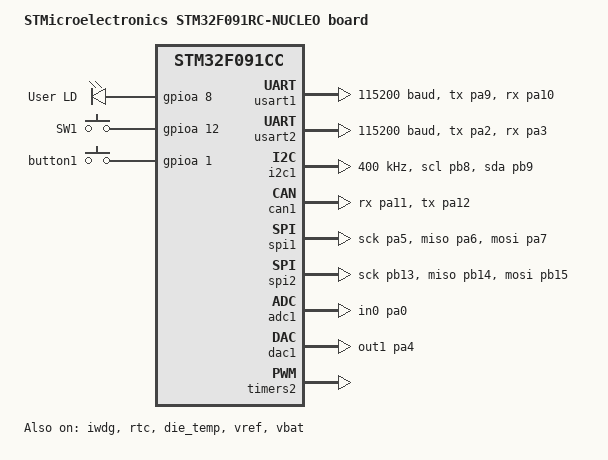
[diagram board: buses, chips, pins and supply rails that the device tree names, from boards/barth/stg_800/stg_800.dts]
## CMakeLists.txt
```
cmake_minimum_required(VERSION 3.22)
set(CMAKE_EXPORT_COMPILE_COMMANDS ON)
set(BOARD stg_800 )

find_package(Zephyr REQUIRED HINTS $ENV{ZEPHYR_BASE})
project(004_create_your_own_board)

target_sources(app PRIVATE src/main.c)
```

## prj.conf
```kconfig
CONFIG_MAIN_THREAD_PRIORITY=0
CONFIG_MAIN_STACK_SIZE=1024
CONFIG_SYSTEM_WORKQUEUE_STACK_SIZE=1024
CONFIG_LOG=y
CONFIG_SERIAL=y
CONFIG_GPIO=y

CONFIG_PRINTK=y
CONFIG_LOG_PRINTK=y

CONFIG_BOOTLOADER_MCUBOOT=y

CONFIG_MCUBOOT_SIGNATURE_KEY_FILE="bootloader/mcuboot/mykey-ecdsa-p256.pem"
CONFIG_MCUBOOT_ENCRYPTION_KEY_FILE="bootloader/mcuboot/mykey-ecdsa-p256.pem"







# Add other necessary configurations
# ...
```

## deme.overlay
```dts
cd
cd zephyrproject 
mkdir zephyr_rtos_tutuorials
cd zephyr_rtos_tutuorials
mkdir 001_led_blink
cd 001_led_blink


west build ~/zephyrproject/zephyr_rtos_tutuorials/001_led_blink  -p  -b stm32f4_disco  -d build

west build -b <board_name> 

west flash

west debug

p counter



# SPDX-License-Identifier: Apache-2.0

# Serial Drivers
CONFIG_SERIAL=y
CONFIG_UART_INTERRUPT_DRIVEN=y
# enable console
CONFIG_CONSOLE=y
CONFIG_UART_CONSOLE=y

# GPIO Controller
CONFIG_GPIO=y

# Enable Clocks
CONFIG_CLOCK_CONTROL=y

# enable pin controller
CONFIG_PINCTRL=y

go install github.com/apache/mynewt-mcumgr-cli/mcumgr@latest

mcumgr conn add acm0 type="serial" connstring="dev=/dev/tty.usbserial-FTCJAQUO,baud=115200,mtu=512"

mcumgr -c acm0 image upload /Users/fuad/zephyrproject/zephyr_rtos_tutuorials/005_bootloader_usage/build/zephyr/zephyr.signed.bin
```

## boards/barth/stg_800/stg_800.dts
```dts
/*
 * Copyright (c) 2017 Bobby Noelte
 *
 * SPDX-License-Identifier: Apache-2.0
 */

 /dts-v1/;
 #include "stm32f091cc.dtsi"
 #include <st/f0/stm32f091c(b-c)tx-pinctrl.dtsi>
 #include "arduino_r3_connector.dtsi"
 #include "st_morpho_connector.dtsi"
 #include <zephyr/dt-bindings/input/input-event-codes.h>
 
 / {
     model = "STMicroelectronics STM32F091RC-NUCLEO board";
     compatible = "barth,stg_800";
 
     chosen {
         zephyr,shell-uart = &usart2;
         zephyr,sram = &sram0;
         zephyr,flash = &flash0;
         zephyr,canbus = &can1;
     };
 
     leds: leds {
         status = "okay";
         compatible = "gpio-leds";
         green_led: green_led {
             status = "okay";
             gpios = <&gpioa 8 GPIO_ACTIVE_HIGH>;
             label = "User LD";
         };
     };
 
     gpio_keys {
        status = "okay";
        compatible = "gpio-keys";
        mcuboot_button0: button_0 {
            status = "okay";
            label = "SW1";
            gpios = <&gpioa 12 (GPIO_ACTIVE_HIGH | GPIO_PULL_DOWN)>; //In 4
            zephyr,code = <INPUT_KEY_0>;
        };
        

    };

    buttons {
        status = "okay";
        compatible = "gpio-keys";
        button1: button_1 {
            status = "okay";
            gpios = <&gpioa 1 GPIO_ACTIVE_HIGH>;
        };
    };
 
     pwmleds: pwmleds {
         compatible = "pwm-leds";
         /* NOTE: disabled by default, PWM2 conflicts with SPI1 */
         status = "disabled";
 
         green_pwm_led: green_pwm_led {
             pwms = <&pwm2 1 PWM_MSEC(20) PWM_POLARITY_NORMAL>;
         };
     };
 
     aliases {
         led0 = &green_led;
         sw0 = &mcuboot_button0;
         pwm-led0 = &green_pwm_led;
         watchdog0 = &iwdg;
         die-temp0 = &die_temp;
         volt-sensor0 = &vref;
         volt-sensor1 = &vbat;
         mcuboot-button0 = &mcuboot_button0;   
     };
 };
 
 
 
 &clk_hsi {
     status = "okay";
     
 };
 &clk_lsi {
     status = "okay";
 };
 
 &pll {
     prediv = <1>;
     mul = <6>;
     clocks = <&clk_hsi>;
     status = "okay";
 };
 
 &rcc {
     clocks = <&pll>;
     clock-frequency = <DT_FREQ_M(48)>;
     ahb-prescaler = <1>;
     apb1-prescaler = <1>;
 };
 
 &usart1 {
     pinctrl-0 = <&usart1_tx_pa9 &usart1_rx_pa10>;
     pinctrl-names = "default";
     current-speed = <115200>;
     status = "okay";
     
 };
 
 &usart2 {
     pinctrl-0 = <&usart2_tx_pa2 &usart2_rx_pa3>;
     pinctrl-names = "default";
     current-speed = <115200>;
     status = "okay";
 };
 
 &i2c1 {
     pinctrl-0 = <&i2c1_scl_pb8 &i2c1_sda_pb9>;
     pinctrl-names = "default";
     status = "okay";
     clock-frequency = <I2C_BITRATE_FAST>;
 };
 
 &i2c2 {
     /* Pin conflict with can1. Enable only with can1 disabled. */
     pinctrl-0 = <&i2c2_scl_pa11 &i2c2_sda_pa12>;
     pinctrl-names = "default";
     status = "disabled";
     clock-frequency = <I2C_BITRATE_FAST>;
 };
 
 &can1 {
     pinctrl-0 = <&can_rx_pa11 &can_tx_pa12>;
     pinctrl-names = "default";
     status = "okay";
 };
 
 &spi1 {
     pinctrl-0 = <&spi1_sck_pa5 &spi1_miso_pa6 &spi1_mosi_pa7>;
     pinctrl-names = "default";
     status = "okay";
 };
 
 &spi2 {
     pinctrl-0 = <&spi2_sck_pb13 &spi2_miso_pb14 &spi2_mosi_pb15>;
     pinctrl-names = "default";
     status = "okay";
 };
 
 &iwdg {
     status = "okay";
 };
 
 &rtc {
     clocks = <&rcc STM32_CLOCK_BUS_APB1 0x10000000>,
          <&rcc STM32_SRC_LSI RTC_SEL(2)>;
     status = "okay";
 };
 
 
 
 &adc1 {
     pinctrl-0 = <&adc_in0_pa0>;
     pinctrl-names = "default";
     st,adc-clock-source = <SYNC>;
     st,adc-prescaler = <4>;
     status = "okay";
 };
 
 &die_temp {
     status = "okay";
 };
 
 &dac1 {
     status = "okay";
     pinctrl-0 = <&dac_out1_pa4>;
     pinctrl-names = "default";
 };
 
 &dma1 {
     status = "okay";
 };
 
 &timers2 {
     st,prescaler = <10000>;
     status = "okay";
 
     pwm2: pwm {
         /* NOTE: disabled by default, PWM2 conflicts with SPI1 */
         pinctrl-0 = <&tim2_ch1_pa5>;
         pinctrl-names = "default";
     };
 };
 
 &vref {
     status = "okay";
 };
 
 &vbat {
     status = "okay";
 };

 &flash0 {
    partitions {
        compatible = "fixed-partitions";
        #address-cells = <1>;
        #size-cells = <1>;

        boot_partition: partition@0 {
            label = "mcuboot";
            reg = <0x00000000 0x00010000>; /* 64 KB */
        };

        slot0_partition: partition@10000 {
            label = "image-0";
            reg = <0x00010000 0x00018000>; /* 96 KB */
        };

        slot1_partition: partition@20000 {
            label = "image-1";
            reg = <0x00020000 0x00018000>; /* 96 KB */
        };

        storage_partition: partition@38000 {
            label = "storage";
            reg = <0x00038000 0x00008000>; /* 32 KB */
        };
    };
};


 /{
    chosen {
            zephyr,code-partition = &slot0_partition; 
            zephyr,console = &usart1;
            
        };
    };


 
```

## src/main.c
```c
#include <stdio.h>
#include <zephyr/kernel.h>
#include <zephyr/drivers/gpio.h>
#include <zephyr/devicetree.h>
#define LED0_NODE DT_NODELABEL(green_led)


int counter = 30;
void increment_counter(void);

static const struct gpio_dt_spec led = GPIO_DT_SPEC_GET(LED0_NODE, gpios);

int main(void){
    
    gpio_pin_configure_dt(&led, GPIO_OUTPUT_ACTIVE);
    //Configure button as input
    
    
    while(true){
        increment_counter();
        gpio_pin_toggle_dt(&led);
        k_msleep(1000); // Sleep for 1 second
        
    }
    return 0;
}
void increment_counter(){
    counter = counter + 1;
}
    
```
